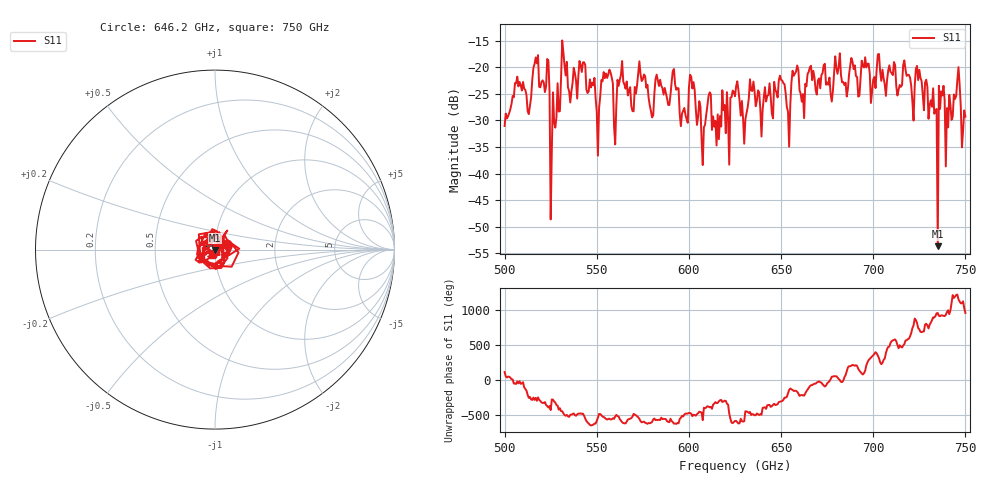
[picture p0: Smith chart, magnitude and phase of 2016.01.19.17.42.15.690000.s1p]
!Created with skrf (http://scikit-rf.org).
# GHz S RI R 50.0
!freq ReS11 ImS11
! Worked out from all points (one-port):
!   401 points, 500 GHz to 750 GHz, reference 50 ohm
!   lowest |S11| = -53.6 dB at 735 GHz (marker M1), VSWR 1.00, Z = 49.9 - j0.181 ohm
!   |S11| at or under -10 dB: start of sweep to end of sweep
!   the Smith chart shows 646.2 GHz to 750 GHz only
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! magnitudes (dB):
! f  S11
! 500 GHz  -31.1
! 506.9 GHz  -21.8
! 513.1 GHz  -28.8
! 516.9 GHz  -18.2
! 523.1 GHz  -18.5
! 526.2 GHz  -24.7
! 531.2 GHz  -15.0
! 542.5 GHz  -19.1
! 550.6 GHz  -36.6
! 553.8 GHz  -20.9
! 560.6 GHz  -27.2
! 562.5 GHz  -22.4
! 593.8 GHz  -23.9
! 598.1 GHz  -29.0
! 601.9 GHz  -24.0
! 608.1 GHz  -31.3
! 610.6 GHz  -25.5
! 625 GHz  -25.5
! 630.6 GHz  -29.8
! 634.4 GHz  -24.5
! 650.6 GHz  -22.5
! 653.8 GHz  -28.4
! 656.2 GHz  -20.7
! 687.5 GHz  -19.7
! 718.8 GHz  -21.4
! 735 GHz  -53.6
! 736.9 GHz  -24.6
! 750 GHz  -29.3
